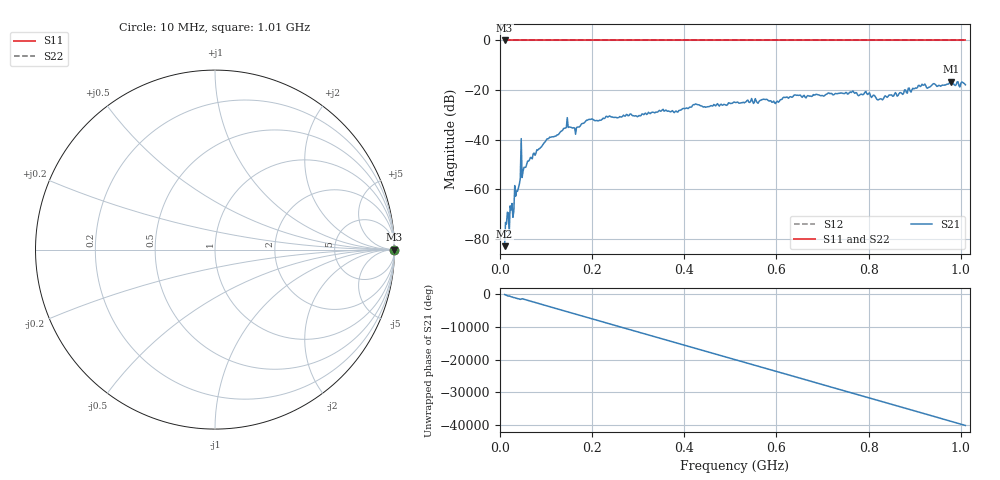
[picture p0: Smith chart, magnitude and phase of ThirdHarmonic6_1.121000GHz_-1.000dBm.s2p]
! 8/16/2025 10:47:31 AM
! C:\ANRITSUVNA\TEMP\TEMP.S2P
! CHANNEL.1
! TR.MEASUREMENT
! RAW.DATA
! RF.CORRECTION.OFF
! AVERAGING.OFF
! IF.BANDWIDTH: 5KHZ
! SWEEPTYPE:  FREQ.SWEEP(Linear)
! Reference Plane Port Info
! PORT:  PORT1  PORT2
! DISTANCE:  0  m  0  m
! TIME:  0  s  0  s
! PHASE.OFFSET:  0  deg.  0  deg.
! LOSS:  0  dB  0  dB
! REF.LOSS:  0  dB  0  dB
! REF.FREQ:  0  Hz  0  Hz
! Power Info
! POWER:  -20  dBm  -20  dBm
! EFF.POWER:  -20  dBm  -20  dBm
! SOURCE.ATTEN:  0  dB  0  dB
! TEST.ATTEN:  0  dB  0  dB
# GHZ S RI R 50.0
! FREQ.GHZ  S11RE  S11IM  S21RE  S21IM  S12RE  S12IM  S22RE  S22IM
!; PortSelection: Port_12
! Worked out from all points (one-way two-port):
!   501 points, 10 MHz to 1.01 GHz, reference 50 ohm
!   highest |S21| = -16.64 dB at 978 MHz (marker M1); lowest = -82.9 dB at 10 MHz (marker M2)
!   lowest |S11| = 0.0 dB at 10 MHz (marker M3)
!   |S11| at or under -10 dB: nowhere
!   |S22| runs from 0.0 to 0.0 dB; largest |S21 - S12| = 1.1
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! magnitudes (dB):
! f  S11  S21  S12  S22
! 10 MHz  0.0  -82.9  0.0  0.0
! 14 MHz  0.0  -74.0  0.0  0.0
! 24 MHz  0.0  -68.3  0.0  0.0
! 40 MHz  0.0  -59.5  0.0  0.0
! 42 MHz  0.0  -57.9  0.0  0.0
! 50 MHz  0.0  -52.8  0.0  0.0
! 52 MHz  0.0  -51.2  0.0  0.0
! 100 MHz  0.0  -40.3  0.0  0.0
! 142 MHz  0.0  -35.3  0.0  0.0
! 162 MHz  0.0  -35.3  0.0  0.0
! 178 MHz  0.0  -33.5  0.0  0.0
! 344 MHz  0.0  -28.5  0.0  0.0
! 510 MHz  0.0  -25.0  0.0  0.0
! 600 MHz  0.0  -24.7  0.0  0.0
! 642 MHz  0.0  -22.0  0.0  0.0
! 678 MHz  0.0  -22.4  0.0  0.0
! 764 MHz  0.0  -20.7  0.0  0.0
! 822 MHz  0.0  -23.8  0.0  0.0
! 844 MHz  0.0  -22.0  0.0  0.0
! 918 MHz  0.0  -18.1  0.0  0.0
! 978 MHz  0.0  -16.6  0.0  0.0
! 1.01 GHz  0.0  -17.9  0.0  0.0
